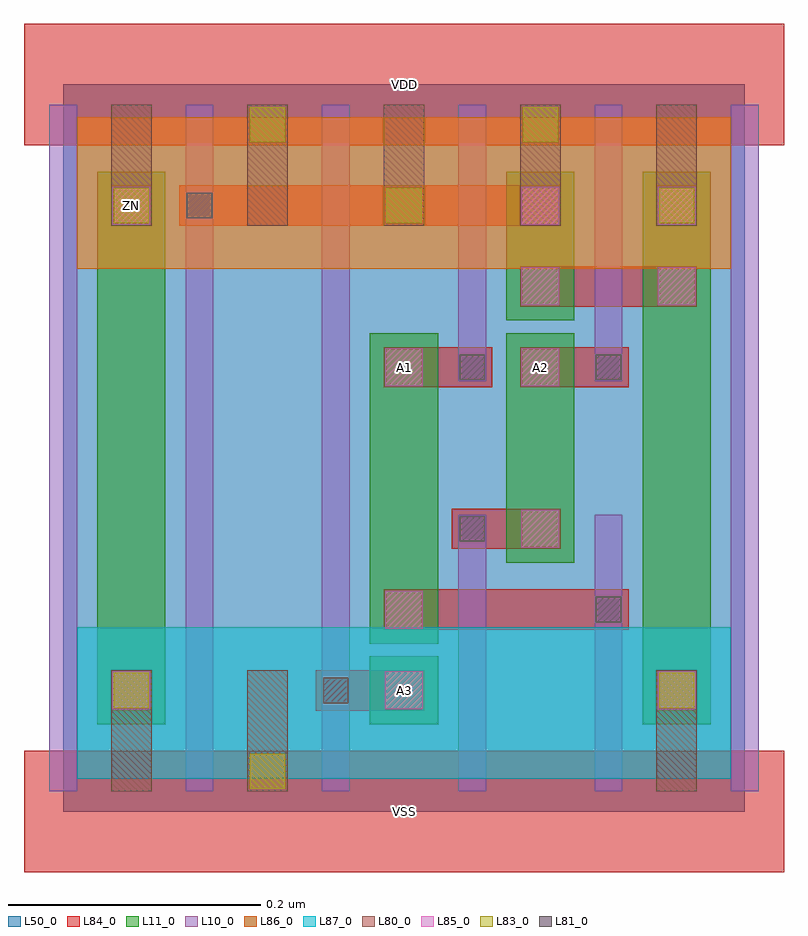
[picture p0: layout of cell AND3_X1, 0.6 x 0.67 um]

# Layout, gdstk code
import gdstk
lib = gdstk.Library(unit=1e-6, precision=1e-09)
def R(c, l, rs):  # rectangles x0, y0, x1, y1
    for r in rs: c.add(gdstk.rectangle(r[:2], r[2:], *l))
def A(c, l, x, y, w, h, nx, ny, dx, dy):  # array of equal rectangles
    R(c, l, [(x+i*dx, y+j*dy, x+i*dx+w, y+j*dy+h) for i in range(nx) for j in range(ny)])
L10_0 = (10, 0)
L11_0 = (11, 0)
L50_0 = (50, 0)
L80_0 = (80, 0)
L81_0 = (81, 0)
L83_0 = (83, 0)
L84_0 = (84, 0)
L85_0 = (85, 0)
L86_0 = (86, 0)
L87_0 = (87, 0)

and3_x1 = lib.new_cell('AND3_X1')
A(and3_x1, L10_0, -0.011, 0.016, 0.022, 0.544, 3, 1, 0.108, 0)
R(and3_x1, L10_0, [(0.313,0.016,0.335,0.235), (0.421,0.016,0.443,0.235), (0.529,0.016,0.551,0.56), (0.313,0.341,0.335,0.56), (0.421,0.341,0.443,0.56)])
R(and3_x1, L11_0, [(0.027,0.069,0.081,0.507), (0.243,0.069,0.297,0.123), (0.459,0.069,0.513,0.507), (0.243,0.133,0.297,0.379), (0.351,0.197,0.405,0.379), (0.351,0.389,0.405,0.507)])
R(and3_x1, L50_0, [(0,0,0.54,0.576)])
A(and3_x1, L80_0, 0.038, 0.464, 0.032, 0.096, 5, 1, 0.108, 0)
R(and3_x1, L80_0, [(0.038,0.016,0.07,0.112), (0.146,0.016,0.178,0.112), (0.47,0.016,0.502,0.112)])
R(and3_x1, L81_0, [(0.206,0.086,0.226,0.106), (0.422,0.15,0.442,0.17), (0.314,0.214,0.334,0.234), (0.314,0.342,0.334,0.362), (0.422,0.342,0.442,0.362), (0.098,0.47,0.118,0.49)])
A(and3_x1, L83_0, 0.04, 0.466, 0.028, 0.028, 3, 1, 0.216, 0)
R(and3_x1, L83_0, [(0.148,0.018,0.176,0.046), (0.04,0.082,0.068,0.11), (0.472,0.082,0.5,0.11), (0.148,0.53,0.176,0.558), (0.364,0.53,0.392,0.558)])
R(and3_x1, L84_0, [(-0.031,-0.048,0.571,0.048), (0.038,0.08,0.07,0.112), (0.2,0.08,0.286,0.112), (0.47,0.08,0.502,0.112), (0.254,0.144,0.448,0.176), (0.308,0.208,0.394,0.24), (0.254,0.336,0.34,0.368), (0.362,0.336,0.448,0.368), (0.362,0.4,0.502,0.432), (0.038,0.464,0.07,0.496), (0.092,0.464,0.394,0.496), (0.47,0.464,0.502,0.496), (-0.031,0.528,0.571,0.624)])
A(and3_x1, L85_0, 0.039, 0.081, 0.03, 0.03, 3, 1, 0.216, 0)
A(and3_x1, L85_0, 0.363, 0.337, 0.03, 0.03, 1, 3, 0, 0.064)
R(and3_x1, L85_0, [(0.255,0.145,0.285,0.175), (0.363,0.209,0.393,0.239), (0.255,0.337,0.285,0.367), (0.471,0.401,0.501,0.431), (0.039,0.465,0.069,0.495), (0.471,0.465,0.501,0.495)])
R(and3_x1, L86_0, [(0.011,0.43,0.529,0.55)])
R(and3_x1, L87_0, [(0.011,0.026,0.529,0.146)])
and3_x1.add(gdstk.Label('VDD', (0.27,0.576), layer=88, texttype=0))
and3_x1.add(gdstk.Label('VSS', (0.27,0), layer=88, texttype=0))
and3_x1.add(gdstk.Label('A2', (0.378,0.352), layer=31, texttype=0))
and3_x1.add(gdstk.Label('A1', (0.27,0.352), layer=31, texttype=0))
and3_x1.add(gdstk.Label('ZN', (0.054,0.48), layer=31, texttype=0))
and3_x1.add(gdstk.Label('A3', (0.27,0.096), layer=31, texttype=0))

lib.write_gds('AND3_X1.gds')
